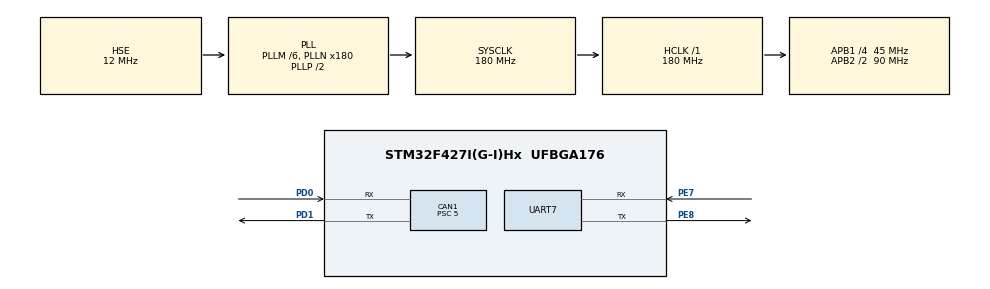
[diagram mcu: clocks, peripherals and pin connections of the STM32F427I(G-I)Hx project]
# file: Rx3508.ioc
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CAN1.BS1=CAN_BS1_7TQ
CAN1.CalculateBaudRate=1000000
CAN1.CalculateTimeBit=1000
CAN1.CalculateTimeQuantum=111.11111111111111
CAN1.Prescaler=5
Dma.Request0=UART7_TX
Dma.UART7_TX.0.Direction=DMA_MEMORY_TO_PERIPH
Dma.UART7_TX.0.FIFOMode=DMA_FIFOMODE_DISABLE
Dma.UART7_TX.0.Instance=DMA1_Stream1
Dma.UART7_TX.0.MemDataAlignment=DMA_MDATAALIGN_BYTE
Dma.UART7_TX.0.MemInc=DMA_MINC_ENABLE
Dma.UART7_TX.0.Mode=DMA_NORMAL
Dma.UART7_TX.0.PeriphDataAlignment=DMA_PDATAALIGN_BYTE
Dma.UART7_TX.0.PeriphInc=DMA_PINC_DISABLE
Dma.UART7_TX.0.Priority=DMA_PRIORITY_MEDIUM
Mcu.Family=STM32F4
Mcu.Name=STM32F427I(G-I)Hx
Mcu.Package=UFBGA176
NVIC.CAN1_RX0_IRQn=true\:0\:0\:false\:false\:true\:true\:true\:true
NVIC.DMA1_Stream1_IRQn=true\:0\:0\:false\:false\:true\:false\:true\:true
NVIC.PriorityGroup=NVIC_PRIORITYGROUP_4
NVIC.UART7_IRQn=true\:0\:0\:false\:false\:true\:true\:true\:true
PA13.Mode=Serial_Wire
PA13.Signal=SYS_JTMS-SWDIO
PA14.Mode=Serial_Wire
PA14.Signal=SYS_JTCK-SWCLK
PD0.Mode=CAN_Activate
PD0.Signal=CAN1_RX
PD1.Mode=CAN_Activate
PD1.Signal=CAN1_TX
PE7.Mode=Asynchronous
PE7.Signal=UART7_RX
PE8.Mode=Asynchronous
PE8.Signal=UART7_TX
PH0/OSC_IN.Mode=HSE-External-Oscillator
PH0/OSC_IN.Signal=RCC_OSC_IN
PH1/OSC_OUT.Mode=HSE-External-Oscillator
PH1/OSC_OUT.Signal=RCC_OSC_OUT
ProjectManager.HeapSize=0x200
ProjectManager.StackSize=0x400
ProjectManager.TargetToolchain=MDK-ARM V5.32
RCC.48MHZClocksFreq_Value=90000000
RCC.AHBFreq_Value=180000000
RCC.APB1CLKDivider=RCC_HCLK_DIV4
RCC.APB1Freq_Value=45000000
RCC.APB1TimFreq_Value=90000000
RCC.APB2CLKDivider=RCC_HCLK_DIV2
RCC.APB2Freq_Value=90000000
RCC.APB2TimFreq_Value=180000000
RCC.CortexFreq_Value=180000000
RCC.HCLKFreq_Value=180000000
RCC.HSE_VALUE=12000000
RCC.HSI_VALUE=16000000
RCC.LSE_VALUE=32768
RCC.PLLM=6
RCC.PLLN=180
RCC.PLLSourceVirtual=RCC_PLLSOURCE_HSE
RCC.SYSCLKFreq_VALUE=180000000
RCC.SYSCLKSource=RCC_SYSCLKSOURCE_PLLCLK
RCC.VCOOutputFreq_Value=360000000
UART7.VirtualMode=Asynchronous
board=custom

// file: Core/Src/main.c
/* USER CODE BEGIN Header */
/**
  ******************************************************************************
  * @file           : main.c
  * @brief          : Main program body
  ******************************************************************************
  * @attention
  *
  * Copyright (c) 2026 STMicroelectronics.
  * All rights reserved.
  *
  * This software is licensed under terms that can be found in the LICENSE file
  * in the root directory of this software component.
  * If no LICENSE file comes with this software, it is provided AS-IS.
  *
  ******************************************************************************
  */
/* USER CODE END Header */
#include "main.h"
#include "can.h"
#include "dma.h"
#include "usart.h"
#include "gpio.h"

/* USER CODE BEGIN Includes */
#include <stdio.h>
#include <string.h>
/* USER CODE END Includes */

/* USER CODE BEGIN PTD */
typedef struct {
    uint16_t ecd;
    int16_t speed_rpm;
    int16_t given_current;
    uint8_t temperature;
    uint16_t last_ecd;
} motor_measure_t;
/* USER CODE END PTD */

/* USER CODE BEGIN PD */
 #define get_motor_measure(ptr, data) \
{ \
    (ptr)->last_ecd = (ptr)->ecd; \
    (ptr)->ecd = (uint16_t)((data)[0] << 8 | (data)[1]); \
    (ptr)->speed_rpm = (int16_t)((data)[2] << 8 | (data)[3]); \
    (ptr)->given_current = (int16_t)((data)[4] << 8 | (data)[5]); \
    (ptr)->temperature = (data)[6]; \
}
/* USER CODE END PD */

/* USER CODE BEGIN PV */

/* ================= JustFloat 发送相关定义 ================= */
#define VOFA_CH_COUNT 4      // 发送 4 个通道（4个电机转速）
uint8_t vofa_tx_buf[(VOFA_CH_COUNT * 4) + 4]; // 4个float(16字节) + 4字节帧尾 = 20字节
volatile uint8_t vofa_dma_busy = 0;           // DMA 忙标志位 (0:空闲, 1:发送中)

// 帧尾定义：JustFloat 协议固定以 00 00 80 7F 结尾 (小端模式的 float 无穷大)
const uint8_t justfloat_tail[4] = {0x00, 0x00, 0x80, 0x7F};

/* USER CODE END PV */

void SystemClock_Config(void);

/* USER CODE BEGIN 0 */

motor_measure_t motor[4];
//volatile uint32_t can_rx_test_count = 0;
void HAL_CAN_RxFifo0MsgPendingCallback(CAN_HandleTypeDef *hcan)
{

 CAN_RxHeaderTypeDef rx_header;
 uint8_t rx_data[8];
 HAL_CAN_GetRxMessage(hcan, CAN_RX_FIFO0, &rx_header, rx_data);
 uint8_t motor_idx = rx_header.StdId - 0x201;
 if (motor_idx < 4)
 {
   //can_rx_test_count++;
   get_motor_measure(&motor[motor_idx], rx_data);
 }

}

void can_filter_init(void)
{
  CAN_FilterTypeDef can_filter_st;
  can_filter_st.FilterActivation = ENABLE;
  can_filter_st.FilterMode = CAN_FILTERMODE_IDMASK;
  can_filter_st.FilterScale = CAN_FILTERSCALE_32BIT;
  can_filter_st.FilterIdHigh = 0x0000;
  can_filter_st.FilterIdLow = 0x0000;
  can_filter_st.FilterMaskIdHigh = 0x0000;
  can_filter_st.FilterMaskIdLow = 0x0000;
  can_filter_st.FilterBank =14;
  can_filter_st.FilterFIFOAssignment = CAN_FILTER_FIFO0;
  HAL_CAN_ConfigFilter(&hcan1, &can_filter_st);
  HAL_CAN_Start(&hcan1);
  HAL_CAN_ActivateNotification(&hcan1, CAN_IT_RX_FIFO0_MSG_PENDING);
  can_filter_st.SlaveStartFilterBank = 0;
}

/* ================= JustFloat 发送函数 ================= */
void JustFloat_SendDMA(void)
{
    // 1. 如果 DMA 正在发送，直接退出，防止数据覆盖
    if (vofa_dma_busy) return;

    // 2. 准备数据：将4个电机的转速转成 float，并打包进缓冲区
    float speeds[4];
    speeds[0] = (float)motor[0].speed_rpm;
    speeds[1] = (float)motor[1].speed_rpm;
    speeds[2] = (float)motor[2].speed_rpm;
    speeds[3] = (float)motor[3].speed_rpm;

    // 把 float 数组拷贝到发送缓冲区
    memcpy(vofa_tx_buf, speeds, sizeof(speeds));
    // 把 4 字节帧尾拷贝到缓冲区末尾
    memcpy(vofa_tx_buf + sizeof(speeds), justfloat_tail, 4);

    // 3. 上锁：标记 DMA 忙碌
    vofa_dma_busy = 1;

    // 4. 启动串口 7 的 DMA 发送 (注意：这里传的是长度 20)
    HAL_UART_Transmit_DMA(&huart7, vofa_tx_buf, sizeof(vofa_tx_buf));
}

/* ================= DMA 发送完成回调 ================= */
// 当 DMA 把 20 个字节全部搬运到串口硬件后，会自动调用这个函数
void HAL_UART_TxCpltCallback(UART_HandleTypeDef *huart)
{
    if (huart==&huart7) // 判断是否是串口 7 发送完成
    {
        vofa_dma_busy = 0; // 解锁：允许下一帧发送
    }
}

/* ================= 串口/DMA 错误回调 ================= */
// 如果发生串口错误或 DMA 传输出错，强制解锁，防止程序死锁卡在 busy=1
void HAL_UART_ErrorCallback(UART_HandleTypeDef *huart)
{
    if (huart==&huart7)
    {
        vofa_dma_busy = 0;
        // 必要时可以在这里重新启动 DMA 或清理错误标志
    }
}

/* USER CODE END 0 */

int main(void)
{

  /* MCU Configuration--------------------------------------------------------*/

  /* Reset of all peripherals, Initializes the Flash interface and the Systick. */
  HAL_Init();

  /* Configure the system clock */
  SystemClock_Config();

  /* Initialize all configured peripherals */
  MX_GPIO_Init();
  MX_DMA_Init();
  MX_CAN1_Init();
  MX_UART7_Init();
  /* USER CODE BEGIN 2 */
  int16_t current[4] = {500, 500, 500, 500};
  uint8_t send_data[8] = {0};
  CAN_TxHeaderTypeDef Tx_message;
  uint32_t tx_Mailbox;
  can_filter_init();

  /* USER CODE END 2 */

  /* Infinite loop */
  /* USER CODE BEGIN WHILE */
  while (1)
  {
    Tx_message.DLC = 0x08;
    Tx_message.IDE = CAN_ID_STD;
    Tx_message.RTR = CAN_RTR_DATA;
    Tx_message.StdId = 0x200;

    send_data[0] = (current[0] >> 8) ;
    send_data[1] =  current[0];
    send_data[2] = (current[1] >> 8) ;
    send_data[3] =  current[1];
    send_data[4] = (current[2] >> 8) ;
    send_data[5] =  current[2];
    send_data[6] = (current[3] >> 8) ;
    send_data[7] =  current[3];
    HAL_CAN_AddTxMessage(&hcan1, &Tx_message, send_data, &tx_Mailbox);

    JustFloat_SendDMA();
    HAL_Delay(10);
    /* USER CODE END WHILE */

  }
}

void SystemClock_Config(void)
{
  RCC_OscInitTypeDef RCC_OscInitStruct = {0};
  RCC_ClkInitTypeDef RCC_ClkInitStruct = {0};

  /** Configure the main internal regulator output voltage
  */
  __HAL_RCC_PWR_CLK_ENABLE();
  __HAL_PWR_VOLTAGESCALING_CONFIG(PWR_REGULATOR_VOLTAGE_SCALE1);

  /** Initializes the RCC Oscillators according to the specified parameters
  * in the RCC_OscInitTypeDef structure.
  */
  RCC_OscInitStruct.OscillatorType = RCC_OSCILLATORTYPE_HSE;
  RCC_OscInitStruct.HSEState = RCC_HSE_ON;
  RCC_OscInitStruct.PLL.PLLState = RCC_PLL_ON;
  RCC_OscInitStruct.PLL.PLLSource = RCC_PLLSOURCE_HSE;
  RCC_OscInitStruct.PLL.PLLM = 6;
  RCC_OscInitStruct.PLL.PLLN = 180;
  RCC_OscInitStruct.PLL.PLLP = RCC_PLLP_DIV2;
  RCC_OscInitStruct.PLL.PLLQ = 4;
  if (HAL_RCC_OscConfig(&RCC_OscInitStruct) != HAL_OK)
  {
    Error_Handler();
  }

  /** Activate the Over-Drive mode
  */
  if (HAL_PWREx_EnableOverDrive() != HAL_OK)
  {
    Error_Handler();
  }

  /** Initializes the CPU, AHB and APB buses clocks
  */
  RCC_ClkInitStruct.ClockType = RCC_CLOCKTYPE_HCLK|RCC_CLOCKTYPE_SYSCLK
                              |RCC_CLOCKTYPE_PCLK1|RCC_CLOCKTYPE_PCLK2;
  RCC_ClkInitStruct.SYSCLKSource = RCC_SYSCLKSOURCE_PLLCLK;
  RCC_ClkInitStruct.AHBCLKDivider = RCC_SYSCLK_DIV1;
  RCC_ClkInitStruct.APB1CLKDivider = RCC_HCLK_DIV4;
  RCC_ClkInitStruct.APB2CLKDivider = RCC_HCLK_DIV2;

  if (HAL_RCC_ClockConfig(&RCC_ClkInitStruct, FLASH_LATENCY_5) != HAL_OK)
  {
    Error_Handler();
  }
}

void Error_Handler(void)
{
  __disable_irq();
  while (1)
  {
  }
}
